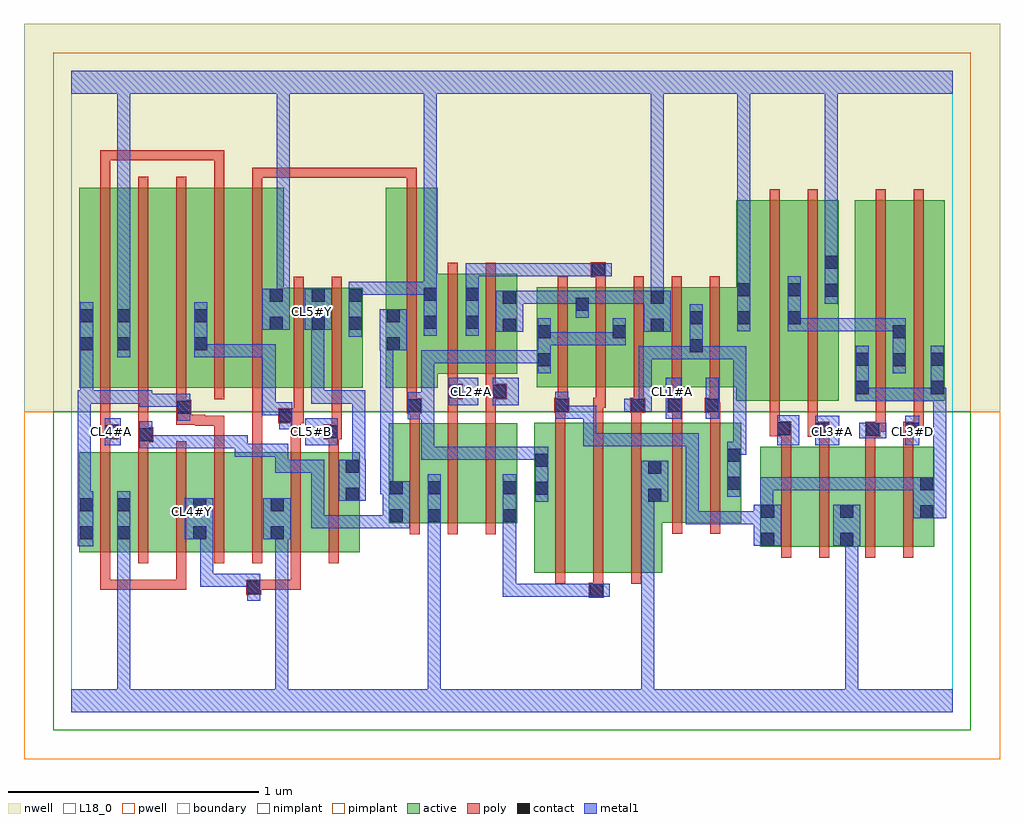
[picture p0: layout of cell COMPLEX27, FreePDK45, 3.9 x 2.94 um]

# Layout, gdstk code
import gdstk
lib = gdstk.Library(unit=1e-6, precision=1e-09)
def R(c, l, rs):  # rectangles x0, y0, x1, y1
    for r in rs: c.add(gdstk.rectangle(r[:2], r[2:], *l))
def A(c, l, x, y, w, h, nx, ny, dx, dy):  # array of equal rectangles
    R(c, l, [(x+i*dx, y+j*dy, x+i*dx+w, y+j*dy+h) for i in range(nx) for j in range(ny)])
active = (1, 0)
pwell = (2, 0)
nwell = (3, 0)
nimplant = (4, 0)
pimplant = (5, 0)
poly = (9, 0)
contact = (10, 0)
metal1 = (11, 0)
L18_0 = (18, 0)
boundary = (235, 0)

complex27 = lib.new_cell('COMPLEX27')
R(complex27, active, [(1.848,0.556,2.028,1.156), (1.848,0.556,1.908,1.156), (2.028,0.556,2.18,1.156), (2.18,0.556,2.36,1.156), (0.032,0.638,0.092,1.038), (0.032,0.638,0.24,1.038), (0.18,0.638,0.24,1.038), (0.18,0.638,0.364,1.038), (0.364,0.638,0.544,1.038), (0.484,0.638,0.668,1.038), (0.484,0.638,0.544,0.858), (0.668,0.638,0.852,1.038), (0.792,0.638,0.852,1.038), (0.792,0.638,0.972,1.038), (0.972,0.638,1.152,1.038), (2.75,0.66,2.81,1.06), (2.75,0.66,2.93,1.06), (2.93,0.66,3.126,1.06), (3.066,0.66,3.266,1.06), (3.066,0.66,3.126,0.832), (3.266,0.66,3.446,1.06), (3.386,0.66,3.446,1.06), (1.268,0.754,1.328,1.154), (1.268,0.754,1.48,1.154), (1.42,0.754,1.6,1.154), (1.42,0.754,1.48,0.926), (1.6,0.754,1.78,1.154), (1.72,0.754,1.78,1.154), (1.092,0.756,1.152,1.038), (2.3,0.756,2.36,1.156), (2.3,0.756,2.496,1.156), (2.496,0.756,2.676,1.156), (2.616,0.756,2.676,1.156), (2.656,1.244,2.916,2.044), (2.856,1.244,2.916,2.044), (2.856,1.244,3.064,2.044), (3.128,1.244,3.188,2.044), (3.128,1.244,3.336,2.044), (3.276,1.244,3.488,2.044), (3.428,1.244,3.488,2.044), (3.276,1.266,3.336,2.044), (0.032,1.294,0.092,2.094), (0.032,1.294,0.24,2.094), (0.18,1.294,0.24,2.094), (0.18,1.294,0.364,2.094), (0.364,1.294,0.548,2.094), (0.488,1.294,0.548,2.094), (0.488,1.294,0.668,2.094), (0.668,1.294,0.848,2.094), (0.788,1.294,0.848,1.694), (0.788,1.294,1.016,1.694), (0.956,1.294,1.016,1.694), (0.956,1.294,1.164,1.694), (1.104,1.294,1.164,1.694), (1.256,1.294,1.464,2.094), (1.256,1.294,1.316,2.044), (1.858,1.296,2.07,1.696), (1.858,1.296,1.918,1.644), (2.01,1.296,2.218,1.696), (2.01,1.296,2.07,1.658), (2.158,1.296,2.37,1.696), (2.158,1.296,2.218,1.644), (2.31,1.296,2.37,1.696), (2.31,1.296,2.526,1.696), (2.466,1.296,2.526,1.696), (2.466,1.296,2.716,1.696), (2.656,1.296,2.716,1.716), (1.404,1.35,1.632,1.75), (1.404,1.35,1.464,2.094), (1.572,1.35,1.78,1.75), (1.72,1.35,1.78,1.75), (3.004,1.452,3.064,2.044), (1.572,1.526,1.632,1.698)])
R(complex27, pwell, [(-0.188,-0.188,3.708,1.2)])
R(complex27, nwell, [(-0.188,1.2,3.708,2.748)])
R(complex27, nimplant, [(-0.072,-0.072,3.592,1.2)])
R(complex27, pimplant, [(-0.072,1.2,3.592,2.632)])
A(complex27, poly, 1.932, 0.512, 0.04, 0.688, 3, 1, 0.152, 0)
A(complex27, poly, 0.116, 0.594, 0.04, 0.488, 7, 1, 0.152, 0)
A(complex27, poly, 1.352, 0.71, 0.04, 0.488, 3, 1, 0.152, 0)
A(complex27, poly, 1.942, 1.216, 0.04, 0.076, 5, 1, 0.152, 0)
A(complex27, poly, 0.116, 1.25, 0.04, 0.888, 5, 1, 0.152, 0)
A(complex27, poly, 1.942, 1.252, 0.04, 0.488, 5, 1, 0.152, 0)
R(complex27, poly, [(2.066,0.456,2.126,0.516), (0.7,0.468,0.76,0.528), (2.084,0.476,2.124,0.552), (0.116,0.488,0.156,0.528), (0.116,0.488,0.156,0.528), (0.116,0.488,0.156,0.528), (0.116,0.488,0.32,0.528), (0.116,0.488,0.156,0.634), (0.28,0.488,0.32,0.528), (0.28,0.488,0.32,0.528), (0.28,0.488,0.32,0.528), (0.28,0.488,0.46,0.528), (0.42,0.488,0.46,0.528), (0.42,0.488,0.46,0.634), (0.72,0.488,0.76,0.528), (0.72,0.488,0.76,0.528), (0.72,0.488,0.916,0.528), (0.876,0.488,0.916,0.528), (0.876,0.488,0.916,0.634), (2.834,0.616,2.874,1.104), (2.986,0.616,3.026,1.104), (3.17,0.616,3.21,1.104), (3.322,0.616,3.362,1.104), (2.4,0.712,2.44,1.2), (2.552,0.712,2.592,1.2), (0.116,1.042,0.156,1.13), (0.268,1.042,0.308,1.118), (0.572,1.042,0.612,1.184), (0.724,1.042,0.764,1.118), (0.876,1.042,0.916,1.194), (1.028,1.042,1.068,1.13), (2.834,1.064,2.874,1.142), (2.986,1.064,3.026,1.14), (3.17,1.064,3.21,1.14), (3.322,1.064,3.362,1.14), (0.268,1.078,0.328,1.138), (0.724,1.078,0.764,1.118), (0.724,1.078,0.764,1.118), (0.724,1.078,0.764,1.118), (0.724,1.078,0.764,1.29), (0.116,1.09,0.19,1.15), (1.008,1.09,1.08,1.15), (1.028,1.09,1.068,1.13), (1.028,1.09,1.068,1.13), (0.268,1.098,0.308,1.138), (0.268,1.098,0.308,1.138), (0.268,1.098,0.308,1.29), (2.94,1.1,3.026,1.16), (2.986,1.1,3.026,1.14), (2.986,1.1,3.026,1.14), (3.17,1.1,3.23,1.16), (3.322,1.1,3.386,1.16), (2.788,1.102,2.874,1.162), (2.834,1.102,2.874,1.142), (2.834,1.102,2.874,1.142), (0.116,1.11,0.156,1.15), (0.116,1.11,0.156,1.15), (0.116,1.11,0.156,1.29), (1.04,1.11,1.08,1.29), (2.94,1.12,2.98,1.24), (3.19,1.12,3.23,1.16), (3.19,1.12,3.252,1.16), (3.212,1.12,3.252,1.24), (3.346,1.12,3.386,1.16), (3.346,1.12,3.404,1.16), (3.364,1.12,3.404,1.24), (2.788,1.122,2.828,1.24), (0.496,1.144,0.536,1.184), (0.496,1.144,0.536,1.184), (0.496,1.144,0.612,1.184), (0.496,1.144,0.536,1.188), (0.572,1.144,0.612,1.184), (0.42,1.148,0.48,1.248), (0.44,1.148,0.536,1.188), (0.826,1.154,0.928,1.214), (0.876,1.154,0.916,1.194), (0.876,1.154,0.916,1.194), (1.352,1.158,1.392,1.234), (1.504,1.158,1.544,1.29), (1.656,1.158,1.696,1.29), (1.932,1.16,1.972,1.236), (2.084,1.16,2.124,1.256), (2.236,1.16,2.276,1.236), (2.4,1.16,2.44,1.236), (2.552,1.16,2.592,1.236), (0.888,1.174,0.928,1.29), (1.34,1.194,1.4,1.254), (1.352,1.194,1.392,1.234), (1.352,1.194,1.392,1.234), (1.928,1.196,1.988,1.256), (2.232,1.196,2.292,1.256), (2.236,1.196,2.276,1.236), (2.236,1.196,2.276,1.236), (2.38,1.196,2.44,1.256), (2.4,1.196,2.44,1.236), (2.4,1.196,2.44,1.236), (2.53,1.196,2.59,1.256), (2.55,1.196,2.59,1.236), (2.55,1.196,2.592,1.236), (2.788,1.2,2.828,2.088), (2.94,1.2,2.98,2.088), (3.212,1.2,3.252,2.088), (3.364,1.2,3.404,2.088), (0.42,1.208,0.46,1.29), (1.34,1.214,1.38,1.29), (1.942,1.216,1.982,1.256), (1.942,1.216,1.982,1.256), (2.084,1.216,2.128,1.256), (2.088,1.216,2.128,1.256), (2.088,1.216,2.134,1.256), (0.888,1.25,0.928,1.738), (1.04,1.25,1.08,1.738), (1.34,1.25,1.38,2.138), (1.504,1.25,1.544,1.29), (1.504,1.25,1.544,1.29), (1.504,1.25,1.564,1.31), (1.656,1.25,1.696,1.29), (1.656,1.25,1.696,1.29), (1.656,1.25,1.74,1.31), (1.504,1.27,1.544,1.346), (1.656,1.27,1.696,1.346), (1.504,1.306,1.544,1.794), (1.656,1.306,1.696,1.794), (2.094,1.7,2.134,1.776), (2.074,1.736,2.134,1.796), (0.116,2.098,0.156,2.244), (0.572,2.098,0.612,2.244), (0.724,2.098,0.764,2.174), (1.34,2.098,1.38,2.174), (0.724,2.134,0.764,2.174), (0.724,2.134,0.764,2.174), (0.724,2.134,0.764,2.174), (0.724,2.134,0.87,2.174), (0.83,2.134,0.87,2.174), (0.83,2.134,0.87,2.174), (0.83,2.134,0.87,2.174), (0.83,2.134,1.034,2.174), (0.994,2.134,1.034,2.174), (0.994,2.134,1.034,2.174), (0.994,2.134,1.034,2.174), (0.994,2.134,1.38,2.174), (1.34,2.134,1.38,2.174), (1.34,2.134,1.38,2.174), (1.34,2.134,1.38,2.174), (0.116,2.204,0.156,2.244), (0.116,2.204,0.156,2.244), (0.116,2.204,0.156,2.244), (0.116,2.204,0.296,2.244), (0.256,2.204,0.296,2.244), (0.256,2.204,0.296,2.244), (0.256,2.204,0.296,2.244), (0.256,2.204,0.426,2.244), (0.386,2.204,0.426,2.244), (0.386,2.204,0.612,2.244), (0.572,2.204,0.612,2.244), (0.572,2.204,0.612,2.244), (0.572,2.204,0.612,2.244)])
R(complex27, contact, [(2.07,0.46,2.122,0.512), (0.704,0.472,0.756,0.524), (2.754,0.664,2.806,0.716), (3.07,0.664,3.122,0.716), (0.036,0.69,0.088,0.742), (0.184,0.69,0.236,0.742), (0.488,0.69,0.54,0.742), (0.796,0.69,0.848,0.742), (1.272,0.758,1.324,0.81), (1.424,0.758,1.476,0.81), (1.724,0.758,1.776,0.81), (3.39,0.774,3.442,0.826), (2.754,0.776,2.806,0.828), (3.07,0.776,3.122,0.828), (0.036,0.802,0.088,0.854), (0.184,0.802,0.236,0.854), (0.488,0.802,0.54,0.854), (0.796,0.802,0.848,0.854), (2.304,0.84,2.356,0.892), (1.096,0.844,1.148,0.896), (1.852,0.868,1.904,0.92), (1.272,0.87,1.324,0.922), (1.424,0.87,1.476,0.922), (1.724,0.87,1.776,0.922), (3.39,0.886,3.442,0.938), (2.62,0.888,2.672,0.94), (2.304,0.952,2.356,1.004), (1.096,0.956,1.148,1.008), (1.852,0.98,1.904,1.032), (2.62,1,2.672,1.052), (0.272,1.082,0.324,1.134), (0.134,1.094,0.186,1.146), (1.012,1.094,1.064,1.146), (2.97,1.104,3.022,1.156), (3.174,1.104,3.226,1.156), (3.33,1.104,3.382,1.156), (2.818,1.106,2.87,1.158), (0.83,1.158,0.882,1.21), (0.424,1.192,0.476,1.244), (1.344,1.198,1.396,1.25), (1.932,1.2,1.984,1.252), (2.236,1.2,2.288,1.252), (2.384,1.2,2.436,1.252), (2.534,1.2,2.586,1.252), (1.508,1.254,1.56,1.306), (1.684,1.254,1.736,1.306), (3.132,1.27,3.184,1.322), (3.432,1.27,3.484,1.322), (1.862,1.38,1.914,1.432), (3.28,1.38,3.332,1.432), (3.132,1.382,3.184,1.434), (3.432,1.382,3.484,1.434), (2.47,1.436,2.522,1.488), (0.036,1.444,0.088,1.496), (0.184,1.444,0.236,1.496), (0.492,1.444,0.544,1.496), (1.26,1.444,1.312,1.496), (1.862,1.492,1.914,1.544), (2.162,1.492,2.214,1.544), (3.28,1.492,3.332,1.544), (1.724,1.518,1.776,1.57), (2.314,1.518,2.366,1.57), (0.792,1.526,0.844,1.578), (0.96,1.526,1.012,1.578), (1.108,1.526,1.16,1.578), (1.408,1.53,1.46,1.582), (1.576,1.53,1.628,1.582), (2.47,1.548,2.522,1.6), (2.66,1.548,2.712,1.6), (2.86,1.548,2.912,1.6), (0.036,1.556,0.088,1.608), (0.184,1.556,0.236,1.608), (0.492,1.556,0.544,1.608), (1.26,1.556,1.312,1.608), (2.014,1.602,2.066,1.654), (1.724,1.63,1.776,1.682), (2.314,1.63,2.366,1.682), (0.792,1.638,0.844,1.69), (0.96,1.638,1.012,1.69), (1.108,1.638,1.16,1.69), (1.408,1.642,1.46,1.694), (1.576,1.642,1.628,1.694), (3.008,1.658,3.06,1.71), (2.66,1.66,2.712,1.712), (2.86,1.66,2.912,1.712), (2.078,1.74,2.13,1.792), (3.008,1.77,3.06,1.822)])
A(complex27, metal1, 2.898, 0.886, 0.052, 0.052, 3, 1, 0.11, 0)
A(complex27, metal1, 0.272, 1.054, 0.052, 0.052, 3, 1, 0.11, 0)
A(complex27, metal1, 2.044, 1.062, 0.052, 0.052, 3, 1, 0.11, 0)
A(complex27, metal1, 2.424, 1.408, 0.052, 0.052, 3, 1, 0.11, 0)
R(complex27, metal1, [(0,0,3.52,0.092), (0.184,0.04,0.236,0.092), (0.184,0.04,0.236,0.092), (0.184,0.04,0.236,0.092), (0.184,0.04,0.236,0.092), (0.184,0.04,0.236,0.092), (0.184,0.04,0.236,0.092), (0.184,0.04,0.236,0.092), (0.184,0.04,0.236,0.092), (0.184,0.04,0.236,0.092), (0.184,0.04,0.236,0.092), (0.184,0.04,0.236,0.092), (0.184,0.04,0.236,0.092), (0.184,0.04,0.236,0.714), (0.814,0.04,0.866,0.092), (0.814,0.04,0.866,0.092), (0.814,0.04,0.866,0.092), (0.814,0.04,0.866,0.092), (0.814,0.04,0.866,0.092), (0.814,0.04,0.866,0.092), (0.814,0.04,0.866,0.092), (0.814,0.04,0.866,0.092), (0.814,0.04,0.866,0.092), (0.814,0.04,0.866,0.092), (0.814,0.04,0.866,0.742), (1.424,0.04,1.476,0.092), (1.424,0.04,1.476,0.092), (1.424,0.04,1.476,0.092), (1.424,0.04,1.476,0.092), (1.424,0.04,1.476,0.092), (1.424,0.04,1.476,0.092), (1.424,0.04,1.476,0.092), (1.424,0.04,1.476,0.092), (1.424,0.04,1.476,0.092), (1.424,0.04,1.476,0.092), (1.424,0.04,1.476,0.092), (1.424,0.04,1.476,0.092), (1.424,0.04,1.476,0.782), (2.276,0.04,2.328,0.092), (2.276,0.04,2.328,0.092), (2.276,0.04,2.328,0.092), (2.276,0.04,2.328,0.092), (2.276,0.04,2.328,0.092), (2.276,0.04,2.328,0.092), (2.276,0.04,2.328,0.092), (2.276,0.04,2.328,0.092), (2.276,0.04,2.328,0.892), (3.09,0.04,3.142,0.092), (3.09,0.04,3.142,0.092), (3.09,0.04,3.142,0.716), (0.704,0.444,0.756,0.552), (1.724,0.46,1.776,0.512), (1.724,0.46,1.776,0.512), (1.724,0.46,1.776,0.512), (1.724,0.46,1.984,0.512), (1.724,0.46,1.776,0.782), (1.932,0.46,1.984,0.512), (1.932,0.46,2.094,0.512), (2.042,0.46,2.094,0.512), (2.042,0.46,2.094,0.512), (2.042,0.46,2.15,0.512), (0.516,0.5,0.568,0.552), (0.516,0.5,0.568,0.552), (0.516,0.5,0.568,0.552), (0.516,0.5,0.678,0.552), (0.516,0.5,0.568,0.742), (0.626,0.5,0.678,0.552), (0.626,0.5,0.756,0.552), (0.026,0.662,0.088,0.882), (0.184,0.662,0.236,0.882), (2.726,0.664,2.834,0.828), (3.042,0.664,3.15,0.828), (3.09,0.664,3.142,0.716), (3.09,0.664,3.142,0.716), (3.09,0.664,3.142,0.716), (3.09,0.664,3.142,0.716), (3.09,0.664,3.142,0.716), (3.09,0.664,3.142,0.716), (3.09,0.664,3.142,0.716), (3.09,0.664,3.142,0.716), (3.09,0.664,3.142,0.716), (3.09,0.664,3.142,0.716), (0.454,0.69,0.568,0.854), (0.768,0.69,0.876,0.854), (0.814,0.69,0.866,0.742), (0.814,0.69,0.866,0.742), (1.424,0.73,1.476,0.95), (1.724,0.73,1.776,0.782), (1.724,0.73,1.776,0.782), (1.724,0.73,1.776,0.782), (1.724,0.73,1.776,0.782), (1.724,0.73,1.776,0.95), (0.958,0.734,1.01,0.786), (0.958,0.734,1.01,0.786), (0.958,0.734,1.01,0.786), (0.958,0.734,1.01,1.008), (0.958,0.734,1.286,0.786), (1.234,0.734,1.286,0.786), (1.234,0.734,1.296,0.786), (1.244,0.734,1.352,0.922), (2.454,0.75,2.506,0.802), (2.454,0.75,2.668,0.802), (2.454,0.75,2.506,1.114), (2.616,0.75,2.668,0.802), (2.616,0.75,2.668,0.802), (2.616,0.75,2.668,0.802), (2.616,0.75,2.778,0.802), (3.362,0.774,3.494,0.938), (2.75,0.776,2.802,0.938), (0.026,0.83,0.078,1.284), (1.852,0.84,1.904,1.06), (2.276,0.84,2.384,1.004), (1.068,0.844,1.176,1.008), (2.62,0.86,2.672,1.08), (1.234,0.87,1.286,0.922), (1.234,0.87,1.286,0.922), (1.234,0.87,1.286,0.922), (1.234,0.87,1.286,0.922), (1.234,0.87,1.296,0.922), (1.234,0.87,1.286,1.496), (1.244,0.87,1.296,0.922), (2.75,0.886,2.802,0.938), (2.75,0.886,2.802,0.938), (2.75,0.886,2.802,0.938), (2.75,0.886,2.95,0.938), (2.898,0.886,2.95,0.938), (2.898,0.886,2.95,0.938), (2.898,0.886,3.06,0.938), (3.008,0.886,3.17,0.938), (3.118,0.886,3.17,0.938), (3.118,0.886,3.17,0.938), (3.118,0.886,3.294,0.938), (3.242,0.886,3.294,0.938), (3.242,0.886,3.414,0.938), (3.362,0.886,3.414,0.938), (3.362,0.886,3.414,0.938), (3.442,0.886,3.494,0.938), (3.442,0.886,3.494,0.938), (3.442,0.886,3.494,1.294), (0.814,0.956,0.866,1.008), (0.814,0.956,0.866,1.008), (0.814,0.956,0.866,1.008), (0.814,0.956,1.01,1.008), (0.814,0.956,0.866,1.072), (0.958,0.956,1.01,1.008), (1.122,0.956,1.174,1.284), (1.398,1.008,1.45,1.06), (1.398,1.008,1.518,1.06), (1.398,1.008,1.45,1.222), (1.466,1.008,1.518,1.06), (1.466,1.008,1.628,1.06), (1.576,1.008,1.628,1.06), (1.576,1.008,1.628,1.06), (1.576,1.008,1.628,1.06), (1.576,1.008,1.804,1.06), (1.752,1.008,1.804,1.06), (1.752,1.008,1.904,1.06), (0.654,1.02,0.866,1.072), (0.654,1.02,0.706,1.106), (0.814,1.02,0.866,1.072), (2.62,1.028,2.672,1.08), (2.62,1.028,2.696,1.08), (2.644,1.028,2.696,1.08), (2.644,1.028,2.696,1.08), (2.644,1.028,2.696,1.46), (0.272,1.054,0.324,1.106), (0.272,1.054,0.434,1.106), (0.272,1.054,0.324,1.162), (0.382,1.054,0.544,1.106), (0.492,1.054,0.544,1.106), (0.492,1.054,0.544,1.106), (0.492,1.054,0.706,1.106), (0.654,1.054,0.706,1.106), (0.654,1.054,0.706,1.106), (2.044,1.062,2.096,1.114), (2.044,1.062,2.096,1.114), (2.044,1.062,2.206,1.114), (2.044,1.062,2.096,1.224), (2.154,1.062,2.316,1.114), (2.264,1.062,2.316,1.114), (2.264,1.062,2.316,1.114), (2.264,1.062,2.428,1.114), (2.376,1.062,2.428,1.114), (2.376,1.062,2.506,1.114), (2.454,1.062,2.506,1.114), (0.134,1.066,0.198,1.174), (0.934,1.066,1.064,1.174), (2.818,1.066,2.906,1.186), (2.97,1.066,3.066,1.184), (3.33,1.066,3.386,1.184), (3.146,1.094,3.254,1.156), (0.83,1.13,0.882,1.238), (0.424,1.164,0.476,1.272), (1.344,1.17,1.45,1.222), (1.344,1.17,1.396,1.278), (1.398,1.17,1.45,1.222), (1.398,1.17,1.45,1.222), (1.398,1.17,1.45,1.222), (1.398,1.17,1.45,1.444), (1.932,1.172,2.096,1.224), (1.932,1.172,1.984,1.28), (2.044,1.172,2.096,1.224), (2.374,1.172,2.436,1.334), (2.534,1.172,2.586,1.334), (0.764,1.186,0.816,1.238), (0.764,1.186,0.882,1.238), (0.764,1.186,0.816,1.468), (2.208,1.2,2.316,1.252), (2.264,1.2,2.316,1.252), (2.264,1.2,2.318,1.252), (2.266,1.2,2.318,1.46), (0.272,1.22,0.476,1.272), (0.272,1.22,0.324,1.284), (1.508,1.226,1.626,1.334), (1.684,1.226,1.786,1.334), (0.026,1.232,0.078,1.284), (0.026,1.232,0.078,1.284), (0.026,1.232,0.088,1.284), (0.036,1.232,0.088,1.284), (0.036,1.232,0.088,1.284), (0.036,1.232,0.214,1.284), (0.036,1.232,0.088,1.468), (0.162,1.232,0.214,1.284), (0.162,1.232,0.214,1.284), (0.162,1.232,0.214,1.284), (0.162,1.232,0.324,1.284), (0.958,1.232,1.01,1.284), (0.958,1.232,1.01,1.284), (0.958,1.232,1.01,1.284), (0.958,1.232,1.174,1.284), (0.958,1.232,1.01,1.578), (1.122,1.232,1.174,1.284), (1.122,1.232,1.174,1.284), (1.122,1.232,1.174,1.284), (1.122,1.232,1.174,1.284), (1.122,1.232,1.174,1.284), (3.132,1.242,3.184,1.294), (3.132,1.242,3.184,1.294), (3.132,1.242,3.184,1.462), (3.132,1.242,3.304,1.294), (3.252,1.242,3.304,1.294), (3.252,1.242,3.484,1.294), (3.432,1.242,3.484,1.294), (3.432,1.242,3.484,1.294), (3.432,1.242,3.484,1.294), (3.432,1.242,3.484,1.462), (3.432,1.242,3.494,1.294), (1.862,1.352,1.914,1.572), (3.28,1.352,3.332,1.572), (1.398,1.392,1.45,1.444), (1.398,1.392,1.506,1.444), (1.454,1.392,1.506,1.444), (1.454,1.392,1.628,1.444), (1.576,1.392,1.628,1.444), (1.576,1.392,1.628,1.444), (1.576,1.392,1.628,1.444), (1.576,1.392,1.738,1.444), (1.686,1.392,1.738,1.444), (1.686,1.392,1.914,1.444), (2.266,1.408,2.318,1.46), (2.266,1.408,2.476,1.46), (2.424,1.408,2.522,1.46), (2.47,1.408,2.522,1.628), (2.47,1.408,2.586,1.46), (2.534,1.408,2.696,1.46), (0.036,1.416,0.088,1.636), (0.184,1.416,0.236,1.636), (0.492,1.416,0.544,1.468), (0.492,1.416,0.544,1.468), (0.492,1.416,0.544,1.636), (0.492,1.416,0.706,1.468), (0.654,1.416,0.706,1.468), (0.654,1.416,0.706,1.468), (0.654,1.416,0.706,1.468), (0.654,1.416,0.816,1.468), (0.764,1.416,0.816,1.468), (1.232,1.444,1.34,1.608), (1.862,1.464,1.914,1.516), (1.862,1.464,1.914,1.516), (1.862,1.464,2.096,1.516), (2.044,1.464,2.096,1.516), (2.044,1.464,2.096,1.516), (2.044,1.464,2.096,1.516), (2.044,1.464,2.214,1.516), (2.162,1.464,2.214,1.572), (1.108,1.498,1.16,1.718), (1.408,1.502,1.46,1.722), (1.576,1.502,1.628,1.722), (1.696,1.518,1.804,1.682), (2.286,1.518,2.394,1.682), (2.66,1.52,2.712,1.74), (2.86,1.52,2.912,1.572), (2.86,1.52,2.912,1.572), (2.86,1.52,2.912,1.74), (2.86,1.52,3.06,1.572), (3.008,1.52,3.06,1.572), (3.008,1.52,3.17,1.572), (3.118,1.52,3.17,1.572), (3.118,1.52,3.17,1.572), (3.118,1.52,3.17,1.572), (3.118,1.52,3.332,1.572), (0.764,1.526,0.872,1.69), (0.932,1.526,1.04,1.69), (2.014,1.574,2.066,1.682), (0.184,1.584,0.236,2.52), (1.752,1.63,1.804,1.682), (1.752,1.63,1.804,1.682), (1.752,1.63,1.914,1.682), (1.862,1.63,1.914,1.682), (1.862,1.63,2.066,1.682), (2.014,1.63,2.15,1.682), (2.098,1.63,2.15,1.682), (2.098,1.63,2.206,1.682), (2.154,1.63,2.206,1.682), (2.154,1.63,2.26,1.682), (2.208,1.63,2.26,1.682), (2.208,1.63,2.338,1.682), (2.314,1.63,2.366,1.682), (2.314,1.63,2.366,1.682), (2.314,1.63,2.366,1.682), (2.314,1.63,2.366,1.682), (2.314,1.63,2.366,1.682), (2.314,1.63,2.366,1.682), (2.314,1.63,2.366,1.682), (2.314,1.63,2.366,1.682), (2.314,1.63,2.366,1.682), (2.314,1.63,2.366,1.682), (2.314,1.63,2.366,2.52), (3.008,1.63,3.06,1.85), (0.82,1.638,0.872,1.69), (0.82,1.638,0.872,1.69), (0.82,1.638,0.872,2.52), (1.108,1.666,1.16,1.718), (1.108,1.666,1.16,1.718), (1.108,1.666,1.16,1.718), (1.108,1.666,1.16,1.718), (1.108,1.666,1.16,1.718), (1.108,1.666,1.16,1.718), (1.108,1.666,1.16,1.718), (1.108,1.666,1.16,1.718), (1.108,1.666,1.174,1.718), (1.122,1.666,1.174,1.718), (1.122,1.666,1.396,1.718), (1.344,1.666,1.396,1.718), (1.344,1.666,1.46,1.718), (1.408,1.67,1.46,2.52), (1.576,1.67,1.628,1.792), (2.66,1.688,2.712,1.74), (2.66,1.688,2.712,1.74), (2.66,1.688,2.712,2.52), (1.576,1.74,1.628,1.792), (1.576,1.74,1.628,1.792), (1.576,1.74,1.628,1.792), (1.576,1.74,1.748,1.792), (1.696,1.74,1.748,1.792), (1.696,1.74,1.748,1.792), (1.696,1.74,1.748,1.792), (1.696,1.74,1.914,1.792), (1.862,1.74,1.914,1.792), (1.862,1.74,2.024,1.792), (1.972,1.74,2.024,1.792), (1.972,1.74,2.102,1.792), (2.05,1.74,2.158,1.792), (3.008,1.798,3.06,1.85), (3.008,1.798,3.06,1.85), (3.008,1.798,3.06,2.52), (0,2.468,3.52,2.56), (0.184,2.468,0.236,2.52), (0.184,2.468,0.236,2.52), (0.184,2.468,0.236,2.52), (0.184,2.468,0.236,2.52), (0.184,2.468,0.236,2.52), (0.184,2.468,0.236,2.52), (0.184,2.468,0.236,2.52), (0.184,2.468,0.236,2.52), (0.82,2.468,0.872,2.52), (0.82,2.468,0.872,2.52), (0.82,2.468,0.872,2.52), (0.82,2.468,0.872,2.52), (0.82,2.468,0.872,2.52), (0.82,2.468,0.872,2.52), (1.408,2.468,1.46,2.52), (1.408,2.468,1.46,2.52), (1.408,2.468,1.46,2.52), (1.408,2.468,1.46,2.52), (1.408,2.468,1.46,2.52), (1.408,2.468,1.46,2.52), (1.408,2.468,1.46,2.52), (1.408,2.468,1.46,2.52), (2.314,2.468,2.366,2.52), (2.314,2.468,2.366,2.52), (2.314,2.468,2.366,2.52), (2.314,2.468,2.366,2.52), (2.314,2.468,2.366,2.52), (2.314,2.468,2.366,2.52), (2.66,2.468,2.712,2.52), (2.66,2.468,2.712,2.52), (2.66,2.468,2.712,2.52), (2.66,2.468,2.712,2.52), (2.66,2.468,2.712,2.52), (2.66,2.468,2.712,2.52), (3.008,2.468,3.06,2.52), (3.008,2.468,3.06,2.52), (3.008,2.468,3.06,2.52), (3.008,2.468,3.06,2.52), (3.008,2.468,3.06,2.52), (3.008,2.468,3.06,2.52)])
A(complex27, L18_0, 2.854, 1.094, 0.052, 0.052, 4, 1, 0.16, 0)
R(complex27, L18_0, [(0,0,3.52,0.092), (0.184,0.04,0.236,0.092), (0.184,0.04,0.236,0.092), (0.184,0.04,0.236,0.092), (0.184,0.04,0.236,0.092), (0.184,0.04,0.236,0.092), (0.184,0.04,0.236,0.092), (0.184,0.04,0.236,0.092), (0.184,0.04,0.236,0.092), (0.184,0.04,0.236,0.092), (0.184,0.04,0.236,0.092), (0.184,0.04,0.236,0.092), (0.184,0.04,0.236,0.092), (0.184,0.04,0.236,0.714), (0.814,0.04,0.866,0.092), (0.814,0.04,0.866,0.092), (0.814,0.04,0.866,0.092), (0.814,0.04,0.866,0.092), (0.814,0.04,0.866,0.092), (0.814,0.04,0.866,0.092), (0.814,0.04,0.866,0.092), (0.814,0.04,0.866,0.092), (0.814,0.04,0.866,0.092), (0.814,0.04,0.866,0.092), (0.814,0.04,0.866,0.742), (1.424,0.04,1.476,0.092), (1.424,0.04,1.476,0.092), (1.424,0.04,1.476,0.092), (1.424,0.04,1.476,0.092), (1.424,0.04,1.476,0.092), (1.424,0.04,1.476,0.092), (1.424,0.04,1.476,0.092), (1.424,0.04,1.476,0.092), (1.424,0.04,1.476,0.092), (1.424,0.04,1.476,0.092), (1.424,0.04,1.476,0.092), (1.424,0.04,1.476,0.092), (1.424,0.04,1.476,0.782), (2.276,0.04,2.328,0.092), (2.276,0.04,2.328,0.092), (2.276,0.04,2.328,0.092), (2.276,0.04,2.328,0.092), (2.276,0.04,2.328,0.092), (2.276,0.04,2.328,0.092), (2.276,0.04,2.328,0.092), (2.276,0.04,2.328,0.092), (2.276,0.04,2.328,0.892), (3.09,0.04,3.142,0.092), (3.09,0.04,3.142,0.092), (3.09,0.04,3.142,0.716), (0.704,0.444,0.756,0.552), (0.516,0.5,0.568,0.552), (0.516,0.5,0.568,0.552), (0.516,0.5,0.568,0.552), (0.516,0.5,0.568,0.742), (0.516,0.5,0.678,0.552), (0.626,0.5,0.678,0.552), (0.626,0.5,0.756,0.552), (0.184,0.662,0.236,0.882), (3.042,0.664,3.15,0.828), (3.09,0.664,3.142,0.716), (3.09,0.664,3.142,0.716), (3.09,0.664,3.142,0.716), (3.09,0.664,3.142,0.716), (3.09,0.664,3.142,0.716), (3.09,0.664,3.142,0.716), (3.09,0.664,3.142,0.716), (3.09,0.664,3.142,0.716), (3.09,0.664,3.142,0.716), (3.09,0.664,3.142,0.716), (0.454,0.69,0.568,0.854), (0.768,0.69,0.876,0.854), (0.814,0.69,0.866,0.742), (0.814,0.69,0.866,0.742), (1.424,0.73,1.476,0.95), (0.454,0.774,0.506,0.826), (2.276,0.84,2.384,1.004), (1.068,0.844,1.176,1.008), (1.122,0.956,1.174,1.284), (0.134,1.066,0.198,1.174), (0.934,1.066,1.064,1.174), (2.818,1.066,2.906,1.186), (2.97,1.066,3.066,1.184), (3.33,1.066,3.386,1.184), (0.134,1.094,0.186,1.146), (0.934,1.094,0.986,1.146), (3.146,1.094,3.254,1.156), (0.83,1.13,0.882,1.238), (2.374,1.172,2.436,1.334), (2.534,1.172,2.586,1.334), (0.764,1.186,0.816,1.238), (0.764,1.186,0.816,1.468), (0.764,1.186,0.882,1.238), (1.508,1.226,1.626,1.334), (1.684,1.226,1.786,1.334), (0.958,1.232,1.01,1.284), (0.958,1.232,1.01,1.284), (0.958,1.232,1.01,1.284), (0.958,1.232,1.01,1.578), (0.958,1.232,1.174,1.284), (1.122,1.232,1.174,1.284), (1.122,1.232,1.174,1.284), (1.122,1.232,1.174,1.284), (1.122,1.232,1.174,1.284), (1.122,1.232,1.174,1.284), (1.574,1.254,1.626,1.306), (1.734,1.254,1.786,1.306), (2.374,1.254,2.426,1.306), (2.534,1.254,2.586,1.306), (0.184,1.416,0.236,1.636), (0.492,1.416,0.544,1.468), (0.492,1.416,0.544,1.468), (0.492,1.416,0.544,1.636), (0.492,1.416,0.706,1.468), (0.654,1.416,0.706,1.468), (0.654,1.416,0.706,1.468), (0.654,1.416,0.706,1.468), (0.654,1.416,0.816,1.468), (0.764,1.416,0.816,1.468), (1.108,1.498,1.16,1.718), (1.408,1.502,1.46,1.722), (1.696,1.518,1.804,1.682), (2.286,1.518,2.394,1.682), (2.66,1.52,2.712,1.74), (0.764,1.526,0.872,1.69), (0.932,1.526,1.04,1.69), (0.934,1.574,0.986,1.626), (2.014,1.574,2.066,1.682), (0.184,1.584,0.236,2.52), (1.752,1.63,1.804,1.682), (1.752,1.63,1.804,1.682), (1.752,1.63,1.914,1.682), (1.862,1.63,1.914,1.682), (1.862,1.63,2.066,1.682), (2.014,1.63,2.15,1.682), (2.098,1.63,2.15,1.682), (2.098,1.63,2.206,1.682), (2.154,1.63,2.206,1.682), (2.154,1.63,2.26,1.682), (2.208,1.63,2.26,1.682), (2.208,1.63,2.338,1.682), (2.314,1.63,2.366,1.682), (2.314,1.63,2.366,1.682), (2.314,1.63,2.366,1.682), (2.314,1.63,2.366,1.682), (2.314,1.63,2.366,1.682), (2.314,1.63,2.366,1.682), (2.314,1.63,2.366,1.682), (2.314,1.63,2.366,1.682), (2.314,1.63,2.366,1.682), (2.314,1.63,2.366,1.682), (2.314,1.63,2.366,2.52), (3.008,1.63,3.06,1.85), (0.82,1.638,0.872,1.69), (0.82,1.638,0.872,1.69), (0.82,1.638,0.872,2.52), (1.108,1.666,1.16,1.718), (1.108,1.666,1.16,1.718), (1.108,1.666,1.16,1.718), (1.108,1.666,1.16,1.718), (1.108,1.666,1.16,1.718), (1.108,1.666,1.16,1.718), (1.108,1.666,1.16,1.718), (1.108,1.666,1.16,1.718), (1.108,1.666,1.174,1.718), (1.122,1.666,1.174,1.718), (1.122,1.666,1.396,1.718), (1.344,1.666,1.396,1.718), (1.344,1.666,1.46,1.718), (1.408,1.67,1.46,2.52), (2.66,1.688,2.712,1.74), (2.66,1.688,2.712,1.74), (2.66,1.688,2.712,2.52), (3.008,1.798,3.06,1.85), (3.008,1.798,3.06,1.85), (3.008,1.798,3.06,2.52), (0,2.468,3.52,2.56), (0.184,2.468,0.236,2.52), (0.184,2.468,0.236,2.52), (0.184,2.468,0.236,2.52), (0.184,2.468,0.236,2.52), (0.184,2.468,0.236,2.52), (0.184,2.468,0.236,2.52), (0.184,2.468,0.236,2.52), (0.184,2.468,0.236,2.52), (0.82,2.468,0.872,2.52), (0.82,2.468,0.872,2.52), (0.82,2.468,0.872,2.52), (0.82,2.468,0.872,2.52), (0.82,2.468,0.872,2.52), (0.82,2.468,0.872,2.52), (1.408,2.468,1.46,2.52), (1.408,2.468,1.46,2.52), (1.408,2.468,1.46,2.52), (1.408,2.468,1.46,2.52), (1.408,2.468,1.46,2.52), (1.408,2.468,1.46,2.52), (1.408,2.468,1.46,2.52), (1.408,2.468,1.46,2.52), (2.314,2.468,2.366,2.52), (2.314,2.468,2.366,2.52), (2.314,2.468,2.366,2.52), (2.314,2.468,2.366,2.52), (2.314,2.468,2.366,2.52), (2.314,2.468,2.366,2.52), (2.66,2.468,2.712,2.52), (2.66,2.468,2.712,2.52), (2.66,2.468,2.712,2.52), (2.66,2.468,2.712,2.52), (2.66,2.468,2.712,2.52), (2.66,2.468,2.712,2.52), (3.008,2.468,3.06,2.52), (3.008,2.468,3.06,2.52), (3.008,2.468,3.06,2.52), (3.008,2.468,3.06,2.52), (3.008,2.468,3.06,2.52), (3.008,2.468,3.06,2.52)])
R(complex27, boundary, [(0,0,3.52,2.56)])
complex27.add(gdstk.Label('CL1#A', (2.4,1.28), layer=11, texttype=0))
complex27.add(gdstk.Label('CL1#B', (2.56,1.28), layer=11, texttype=0))
complex27.add(gdstk.Label('CL2#A', (1.6,1.28), layer=11, texttype=0))
complex27.add(gdstk.Label('CL2#B', (1.76,1.28), layer=11, texttype=0))
complex27.add(gdstk.Label('CL3#A', (3.04,1.12), layer=11, texttype=0))
complex27.add(gdstk.Label('CL3#B', (2.88,1.12), layer=11, texttype=0))
complex27.add(gdstk.Label('CL3#C', (3.2,1.12), layer=11, texttype=0))
complex27.add(gdstk.Label('CL3#D', (3.36,1.12), layer=11, texttype=0))
complex27.add(gdstk.Label('CL4#A', (0.16,1.12), layer=11, texttype=0))
complex27.add(gdstk.Label('CL4#Y', (0.48,0.8), layer=11, texttype=0))
complex27.add(gdstk.Label('CL5#B', (0.96,1.12), layer=11, texttype=0))
complex27.add(gdstk.Label('CL5#Y', (0.96,1.6), layer=11, texttype=0))

lib.write_gds('COMPLEX27.gds')
